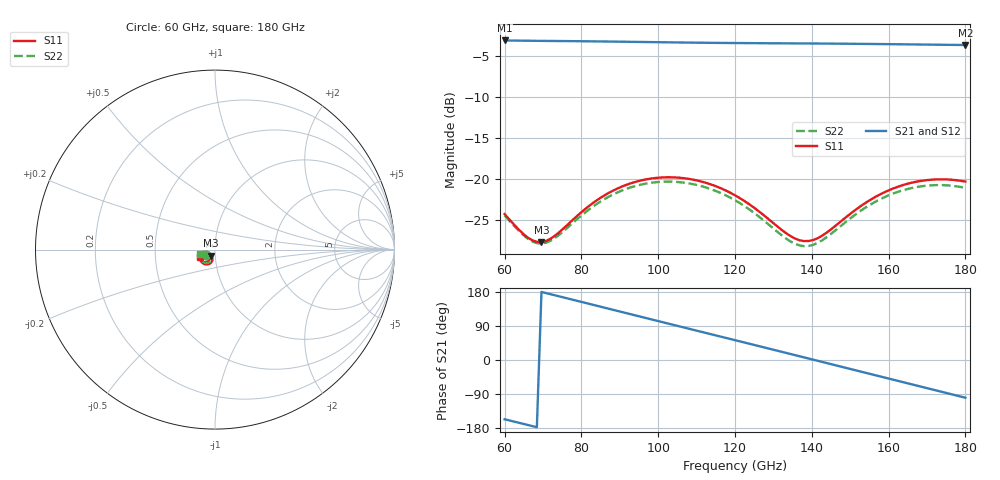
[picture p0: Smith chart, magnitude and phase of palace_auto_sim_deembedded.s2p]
! Created with skrf 1.11.0 (http://scikit-rf.org).
# GHz S DB R 50.0
!freq dBS11 angS11 dBS21 angS21 dBS12 angS12 dBS22 angS22
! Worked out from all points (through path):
!   101 points, 60 GHz to 180 GHz, reference 50 ohm
!   highest |S21| = -3.08 dB at 60 GHz (marker M1); lowest = -3.6 dB at 180 GHz (marker M2)
!   group delay of S21, straight-line fit = 7.02 ps
!   lowest |S11| = -27.7 dB at 69.6 GHz (marker M3), VSWR 1.09, Z = 47.6 - j3.21 ohm
!   |S11| at or under -10 dB: start of sweep to end of sweep
!   |S22| runs from -28.2 to -20.3 dB; largest |S21 - S12| = 1.2e-13
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60  -24.33 -150.5  -3.08 -156.3  -3.08 -156.3  -24.49 -152.5
66  -27.18 -139.0  -3.11 -171.4  -3.11 -171.4  -27.31 -142.0
69.6  -27.74 -124.8  -3.13 179.6  -3.13 179.6  -27.92 -128.7
73.2  -26.93 -112.1  -3.15 170.5  -3.15 170.5  -27.21 -116.6
80.4  -23.92 -104.1  -3.18 152.3  -3.18 152.3  -24.34 -108.8
85.2  -22.26 -107.3  -3.20 140.1  -3.20 140.1  -22.72 -112.2
91.2  -20.83 -115.4  -3.24 124.9  -3.24 124.9  -21.32 -120.4
100.8  -19.85 -131.6  -3.30 100.7  -3.30 100.7  -20.37 -137.2
105.6  -19.87 -140.0  -3.33 88.6  -3.33 88.6  -20.42 -145.9
110.4  -20.24 -148.0  -3.35 76.5  -3.35 76.5  -20.80 -154.2
120  -22.02 -161.1  -3.40 52.3  -3.40 52.3  -22.62 -167.9
126  -23.91 -164.7  -3.41 37.2  -3.41 37.2  -24.54 -171.7
130.8  -25.74 -162.0  -3.43 25.1  -3.43 25.1  -26.39 -169.1
135.6  -27.30 -151.4  -3.44 12.9  -3.44 12.9  -27.95 -158.6
140.4  -27.48 -135.2  -3.45 0.8  -3.45 0.8  -28.07 -142.6
145.2  -26.11 -123.1  -3.47 -11.4  -3.47 -11.4  -26.67 -131.1
150  -24.30 -118.8  -3.49 -23.6  -3.49 -23.6  -24.86 -127.5
154.8  -22.71 -120.2  -3.51 -35.8  -3.51 -35.8  -23.29 -129.4
160.8  -21.26 -126.1  -3.54 -51.0  -3.54 -51.0  -21.87 -135.9
170.4  -20.14 -139.5  -3.59 -75.3  -3.59 -75.3  -20.82 -150.3
175.2  -20.08 -146.8  -3.61 -87.4  -3.61 -87.4  -20.80 -158.0
180  -20.34 -153.8  -3.64 -99.5  -3.64 -99.5  -21.11 -165.6
